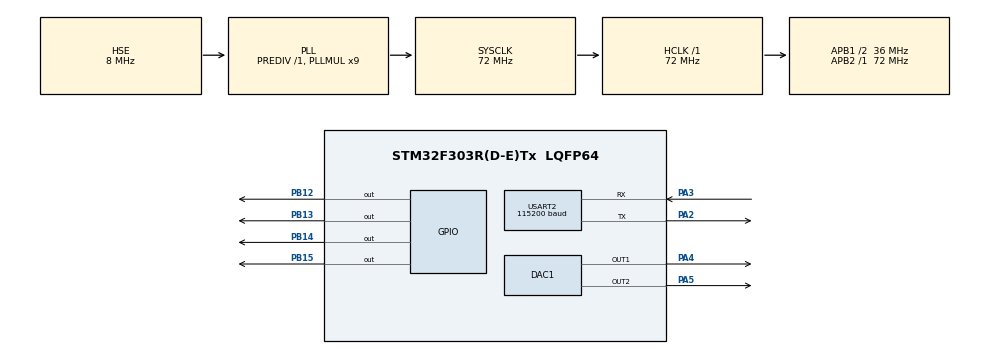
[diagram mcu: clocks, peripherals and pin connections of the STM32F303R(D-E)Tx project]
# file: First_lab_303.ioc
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DAC1.DAC_Trigger=DAC_TRIGGER_T6_TRGO
DAC1.DAC_Trigger2=DAC_TRIGGER_T7_TRGO
Dma.DAC1_CH1.2.Direction=DMA_MEMORY_TO_PERIPH
Dma.DAC1_CH1.2.Instance=DMA1_Channel3
Dma.DAC1_CH1.2.MemDataAlignment=DMA_MDATAALIGN_HALFWORD
Dma.DAC1_CH1.2.MemInc=DMA_MINC_ENABLE
Dma.DAC1_CH1.2.Mode=DMA_CIRCULAR
Dma.DAC1_CH1.2.PeriphDataAlignment=DMA_PDATAALIGN_HALFWORD
Dma.DAC1_CH1.2.PeriphInc=DMA_PINC_DISABLE
Dma.DAC1_CH1.2.Priority=DMA_PRIORITY_LOW
Dma.DAC1_CH2.3.Direction=DMA_MEMORY_TO_PERIPH
Dma.DAC1_CH2.3.Instance=DMA1_Channel4
Dma.DAC1_CH2.3.MemDataAlignment=DMA_MDATAALIGN_HALFWORD
Dma.DAC1_CH2.3.MemInc=DMA_MINC_ENABLE
Dma.DAC1_CH2.3.Mode=DMA_CIRCULAR
Dma.DAC1_CH2.3.PeriphDataAlignment=DMA_PDATAALIGN_HALFWORD
Dma.DAC1_CH2.3.PeriphInc=DMA_PINC_DISABLE
Dma.DAC1_CH2.3.Priority=DMA_PRIORITY_LOW
Dma.Request0=USART2_RX
Dma.Request1=USART2_TX
Dma.Request2=DAC1_CH1
Dma.Request3=DAC1_CH2
Dma.USART2_RX.0.Direction=DMA_PERIPH_TO_MEMORY
Dma.USART2_RX.0.Instance=DMA1_Channel6
Dma.USART2_RX.0.MemDataAlignment=DMA_MDATAALIGN_BYTE
Dma.USART2_RX.0.MemInc=DMA_MINC_ENABLE
Dma.USART2_RX.0.Mode=DMA_NORMAL
Dma.USART2_RX.0.PeriphDataAlignment=DMA_PDATAALIGN_BYTE
Dma.USART2_RX.0.PeriphInc=DMA_PINC_DISABLE
Dma.USART2_RX.0.Priority=DMA_PRIORITY_LOW
Dma.USART2_TX.1.Direction=DMA_MEMORY_TO_PERIPH
Dma.USART2_TX.1.Instance=DMA1_Channel7
Dma.USART2_TX.1.MemDataAlignment=DMA_MDATAALIGN_BYTE
Dma.USART2_TX.1.MemInc=DMA_MINC_ENABLE
Dma.USART2_TX.1.Mode=DMA_NORMAL
Dma.USART2_TX.1.PeriphDataAlignment=DMA_PDATAALIGN_BYTE
Dma.USART2_TX.1.PeriphInc=DMA_PINC_DISABLE
Dma.USART2_TX.1.Priority=DMA_PRIORITY_LOW
Mcu.Family=STM32F3
Mcu.Name=STM32F303R(D-E)Tx
Mcu.Package=LQFP64
NVIC.DMA1_Channel3_IRQn=true\:0\:0\:false\:false\:true\:false\:true\:true
NVIC.DMA1_Channel4_IRQn=true\:0\:0\:false\:false\:true\:false\:true\:true
NVIC.DMA1_Channel6_IRQn=true\:0\:0\:false\:false\:true\:false\:true\:true
NVIC.DMA1_Channel7_IRQn=true\:0\:0\:false\:false\:true\:false\:true\:true
NVIC.PriorityGroup=NVIC_PRIORITYGROUP_4
NVIC.USART2_IRQn=true\:0\:0\:false\:false\:true\:true\:true\:true
PA13.Mode=Serial_Wire
PA13.Signal=SYS_JTMS-SWDIO
PA14.Mode=Serial_Wire
PA14.Signal=SYS_JTCK-SWCLK
PA2.Mode=Asynchronous
PA2.Signal=USART2_TX
PA3.Mode=Asynchronous
PA3.Signal=USART2_RX
PA4.Signal=COMP_DAC11_group
PA5.Signal=COMP_DAC12_group
PB12.Signal=GPIO_Output
PB13.Signal=GPIO_Output
PB14.Signal=GPIO_Output
PB15.Signal=GPIO_Output
PF0-OSC_IN.Mode=HSE-External-Oscillator
PF0-OSC_IN.Signal=RCC_OSC_IN
PF1-OSC_OUT.Mode=HSE-External-Oscillator
PF1-OSC_OUT.Signal=RCC_OSC_OUT
ProjectManager.HeapSize=0x200
ProjectManager.StackSize=0x400
ProjectManager.TargetToolchain=STM32CubeIDE
RCC.AHBFreq_Value=72000000
RCC.APB1CLKDivider=RCC_HCLK_DIV2
RCC.APB1Freq_Value=36000000
RCC.APB1TimFreq_Value=72000000
RCC.APB2Freq_Value=72000000
RCC.APB2TimFreq_Value=72000000
RCC.CortexFreq_Value=72000000
RCC.HCLKFreq_Value=72000000
RCC.HSE_VALUE=8000000
RCC.HSI_VALUE=8000000
RCC.LSE_VALUE=32768
RCC.PLLMUL=RCC_PLL_MUL9
RCC.PLLSourceVirtual=RCC_PLLSOURCE_HSE
RCC.SYSCLKFreq_VALUE=72000000
RCC.SYSCLKSourceVirtual=RCC_SYSCLKSOURCE_PLLCLK
RCC.USBFreq_Value=72000000
SH.COMP_DAC11_group.0=DAC1_OUT1,DAC_OUT1
SH.COMP_DAC12_group.0=DAC1_OUT2,Enable_DAC_OUT2
TIM6.AutoReloadPreload=TIM_AUTORELOAD_PRELOAD_DISABLE
TIM6.Period=7199
TIM6.Prescaler=0
TIM6.TIM_MasterOutputTrigger=TIM_TRGO_UPDATE
TIM7.Period=7199
TIM7.Prescaler=0
TIM7.TIM_MasterOutputTrigger=TIM_TRGO_UPDATE
USART2.BaudRate=115200
USART2.VirtualMode-Asynchronous=VM_ASYNC
VP_TIM6_VS_ClockSourceINT.Mode=Enable_Timer
VP_TIM7_VS_ClockSourceINT.Mode=Enable_Timer
board=custom

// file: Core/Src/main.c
/* USER CODE BEGIN Header */
/**
  ******************************************************************************
  * @file           : main.c
  * @brief          : Main program body
  ******************************************************************************
  * @attention
  *
  * Copyright (c) 2023 STMicroelectronics.
  * All rights reserved.
  *
  * This software is licensed under terms that can be found in the LICENSE file
  * in the root directory of this software component.
  * If no LICENSE file comes with this software, it is provided AS-IS.
  *
  ******************************************************************************
  */
/* USER CODE END Header */
#include "main.h"

/* USER CODE BEGIN Includes */
#include "stdio.h"
#include <string.h>
#include <stdlib.h>
#include <ctype.h>
#include <math.h>
/* USER CODE END Includes */

/* USER CODE BEGIN PD */
#define RxBuf_SIZE 16
#define TxBuf_SIZE 1024
#define DAC_BUFFER_SIZE 256
/* USER CODE END PD */

DAC_HandleTypeDef hdac1;
DMA_HandleTypeDef hdma_dac1_ch1;
DMA_HandleTypeDef hdma_dac1_ch2;

TIM_HandleTypeDef htim6;
TIM_HandleTypeDef htim7;

UART_HandleTypeDef huart2;
DMA_HandleTypeDef hdma_usart2_rx;
DMA_HandleTypeDef hdma_usart2_tx;

/* USER CODE BEGIN PV */
uint8_t TxBuf[TxBuf_SIZE];
uint8_t RxBuf[RxBuf_SIZE];

uint16_t Ware_Sinus[DAC_BUFFER_SIZE], Ware_Sawtooth[DAC_BUFFER_SIZE];

int count = 0;
int size = 0;
int flag = 0;
int frequency;

/* USER CODE END PV */

void SystemClock_Config(void);
static void MX_GPIO_Init(void);
static void MX_DMA_Init(void);
static void MX_USART2_UART_Init(void);
static void MX_DAC1_Init(void);
static void MX_TIM6_Init(void);
static void MX_TIM7_Init(void);

/* USER CODE BEGIN 0 */

void init_WareSinus_Array(uint16_t* Ware, uint16_t samples) {
    uint16_t amplitude;
    for (uint16_t i = 0; i < samples; i++) {
        amplitude = (uint16_t) rint((sinf(((2 * M_PI) / samples) * i) + 1) * 2048);
        Ware[i] = amplitude < 4096 ? amplitude : 4095;
    }
}

void init_WareSawtooth_Array(uint16_t* Ware, uint16_t samples) {
    for (uint16_t i = 0; i < samples; i++) {
        double sawtooth_value = fmod(i * (1.0 / samples), 1.0);
        uint16_t amplitude = (uint16_t) rint(sawtooth_value * 4096);
        Ware[i] = amplitude < 4096 ? amplitude : 4095;
    }
}

void calculateTimerSettings(TIM_HandleTypeDef *htim,  uint32_t targetFrequency) {
	  uint32_t timerClockFreq = HAL_RCC_GetSysClockFreq(); // Получаем частоту шины PCLK1 (или PCLK2 в зависимости от таймера)

	  // Ищем наибольший возможный делитель частоты, чтобы период таймера был больше 0xFFFF
	  uint32_t prescaler = 1;
	  while ((timerClockFreq / prescaler) / targetFrequency > 0xFFFF) {
	    prescaler++;
	  }

	  // Рассчитываем период таймера
	  uint32_t period = (timerClockFreq / prescaler) / targetFrequency;

	  __HAL_TIM_SET_AUTORELOAD(htim, period - 1);
	  __HAL_TIM_SET_PRESCALER(htim, prescaler - 1);
}

void SinDAC1(uint32_t targetFrequency){
	calculateTimerSettings(&htim6, targetFrequency*DAC_BUFFER_SIZE);
}

void RampDAC2(uint32_t targetFrequency) {
	calculateTimerSettings(&htim7, targetFrequency*DAC_BUFFER_SIZE);
}

void HAL_GPIO_EXTI_Callback(uint16_t GPIO_Pin)
{
    if (GPIO_Pin == GPIO_PIN_1)
    {
       flag++;
    }

}

void blind()
	{
	  HAL_GPIO_WritePin(GPIOB, GPIO_PIN_12, GPIO_PIN_SET);
	  HAL_GPIO_WritePin(GPIOB, GPIO_PIN_13, GPIO_PIN_SET);
	  HAL_GPIO_WritePin(GPIOB, GPIO_PIN_14, GPIO_PIN_SET);
	  HAL_GPIO_WritePin(GPIOB, GPIO_PIN_15, GPIO_PIN_SET);
	}

void addle()
	{
	  HAL_GPIO_WritePin(GPIOB, GPIO_PIN_12, GPIO_PIN_RESET);
	  HAL_GPIO_WritePin(GPIOB, GPIO_PIN_13, GPIO_PIN_RESET);
	  HAL_GPIO_WritePin(GPIOB, GPIO_PIN_14, GPIO_PIN_RESET);
	  HAL_GPIO_WritePin(GPIOB, GPIO_PIN_15, GPIO_PIN_RESET);
	}

void state_1()
	{
	  blind();
	  HAL_Delay(1000);
	  addle();
	  HAL_Delay(1000);
	}
void state_2()
	{
	blind();
	HAL_Delay(500);
	addle();
	HAL_Delay(500);
	}

int isCorrectFrequency(int frequency) {
	if(frequency >= 100 && frequency<= 9900)
	{
		return 1;
	}
	return 0;
}

void calculateFrequency(int freq){
	int frequency_counter = 72000000 / (72 * freq);
	TIM1->ARR = frequency_counter;
}

void setFrequency(char *strRx, char *strTx){
	char* numberFromString = strpbrk(strRx, "0123456789");
	if(numberFromString != NULL) {
		frequency = atoi(numberFromString);
			if(isCorrectFrequency(frequency)) {
				calculateFrequency(frequency);
			}
		 else {
				strcat(strTx, "\r\nIncorrect number. Choose frequency from 100 to 9900Ghz\r\n");

			}

	} else {
		 strcat(strTx, "\r\nIncorrect input.\r\n");
	}
}

void inputStringCompare(char *strRx, char *strTx){

	for (int i = 0; i < strlen(strRx); i++) {
		strRx[i] = tolower(strRx[i]);
	    }

	setFrequency(strRx, strTx);
	if(strstr(strRx,"sin") != NULL){
		 HAL_DAC_Start_DMA(&hdac1, DAC_CHANNEL_1, (uint32_t*)Ware_Sinus, DAC_BUFFER_SIZE, DAC_ALIGN_12B_R);
		 SinDAC1(frequency);
		strcat(strTx, "\r\n Sin function is was run\r\n");
	} else if(strstr(strRx,"ramp") != NULL){
		HAL_DAC_Start_DMA(&hdac1, DAC_CHANNEL_2, (uint32_t*)Ware_Sawtooth, DAC_BUFFER_SIZE, DAC_ALIGN_12B_R);
		RampDAC2(frequency);
		strcat(strTx, "\r\n Ramp function is was run\r\n");
	}
	else if(strstr(strRx,"stop") != NULL){
		 HAL_DAC_Stop_DMA(&hdac1, DAC_CHANNEL_1);
		  HAL_DAC_Stop_DMA(&hdac1, DAC_CHANNEL_2);
		strcat(strTx, "\r\n STOP\r\n");
		}
	else {
		strcat(strTx, "\r\nUnknown command. Try again.\r\nAvailable only: 'sin', 'ramp', 'stop'.\r\n");
	}
}

void HAL_UARTEx_RxEventCallback(UART_HandleTypeDef *huart, uint16_t Size)
{
	if (huart->Instance == USART2) {
		inputStringCompare((char*)RxBuf,(char*)TxBuf);
		HAL_UARTEx_ReceiveToIdle_DMA(&huart2, (uint8_t *) RxBuf, RxBuf_SIZE);
		__HAL_DMA_DISABLE_IT(&hdma_usart2_rx, DMA_IT_HT);
	}
}

void UART_TX_Triger(char *strTx) {
	if(strlen(strTx) != 0) {
		HAL_UART_Transmit_DMA(&huart2, (uint8_t*) strTx, strlen(strTx));
	}
}

void HAL_UART_TxCpltCallback(UART_HandleTypeDef *huart)
{
	if (huart->Instance == USART2) {
		if(HAL_UART_GetState (&huart2) != HAL_UART_STATE_BUSY_TX) {
			memset (TxBuf, 0, TxBuf_SIZE);
		}
	}
}
/* USER CODE END 0 */

int main(void)
{

  /* MCU Configuration--------------------------------------------------------*/

  /* Reset of all peripherals, Initializes the Flash interface and the Systick. */
  HAL_Init();

  /* Configure the system clock */
  SystemClock_Config();

  /* Initialize all configured peripherals */
  MX_GPIO_Init();
  MX_DMA_Init();
  MX_USART2_UART_Init();
  MX_DAC1_Init();
  MX_TIM6_Init();
  MX_TIM7_Init();
  /* USER CODE BEGIN 2 */
  HAL_DAC_Init(&hdac1);
  HAL_TIM_Base_Start(&htim6);
  HAL_TIM_Base_Start(&htim7);

  init_WareSinus_Array(Ware_Sinus, DAC_BUFFER_SIZE);
  init_WareSawtooth_Array(Ware_Sawtooth, DAC_BUFFER_SIZE);

  HAL_DAC_Start_DMA(&hdac1, DAC_CHANNEL_1, (uint32_t*)Ware_Sinus, DAC_BUFFER_SIZE, DAC_ALIGN_12B_R);
  HAL_DAC_Start_DMA(&hdac1, DAC_CHANNEL_2, (uint32_t*)Ware_Sawtooth, DAC_BUFFER_SIZE, DAC_ALIGN_12B_R);

  HAL_UARTEx_ReceiveToIdle_DMA(&huart2, (uint8_t *) RxBuf, RxBuf_SIZE);
 __HAL_DMA_DISABLE_IT(&hdma_usart2_rx, DMA_IT_HT);
  /* USER CODE END 2 */

  /* Infinite loop */
 while (1)
 {

 }
}

void SystemClock_Config(void)
{
  RCC_OscInitTypeDef RCC_OscInitStruct = {0};
  RCC_ClkInitTypeDef RCC_ClkInitStruct = {0};
  RCC_PeriphCLKInitTypeDef PeriphClkInit = {0};

  /** Initializes the RCC Oscillators according to the specified parameters
  * in the RCC_OscInitTypeDef structure.
  */
  RCC_OscInitStruct.OscillatorType = RCC_OSCILLATORTYPE_HSE;
  RCC_OscInitStruct.HSEState = RCC_HSE_ON;
  RCC_OscInitStruct.HSIState = RCC_HSI_ON;
  RCC_OscInitStruct.PLL.PLLState = RCC_PLL_ON;
  RCC_OscInitStruct.PLL.PLLSource = RCC_PLLSOURCE_HSE;
  RCC_OscInitStruct.PLL.PLLMUL = RCC_PLL_MUL9;
  RCC_OscInitStruct.PLL.PREDIV = RCC_PREDIV_DIV1;
  if (HAL_RCC_OscConfig(&RCC_OscInitStruct) != HAL_OK)
  {
    Error_Handler();
  }

  /** Initializes the CPU, AHB and APB buses clocks
  */
  RCC_ClkInitStruct.ClockType = RCC_CLOCKTYPE_HCLK|RCC_CLOCKTYPE_SYSCLK
                              |RCC_CLOCKTYPE_PCLK1|RCC_CLOCKTYPE_PCLK2;
  RCC_ClkInitStruct.SYSCLKSource = RCC_SYSCLKSOURCE_PLLCLK;
  RCC_ClkInitStruct.AHBCLKDivider = RCC_SYSCLK_DIV1;
  RCC_ClkInitStruct.APB1CLKDivider = RCC_HCLK_DIV2;
  RCC_ClkInitStruct.APB2CLKDivider = RCC_HCLK_DIV1;

  if (HAL_RCC_ClockConfig(&RCC_ClkInitStruct, FLASH_LATENCY_2) != HAL_OK)
  {
    Error_Handler();
  }
  PeriphClkInit.PeriphClockSelection = RCC_PERIPHCLK_USART2;
  PeriphClkInit.Usart2ClockSelection = RCC_USART2CLKSOURCE_PCLK1;
  if (HAL_RCCEx_PeriphCLKConfig(&PeriphClkInit) != HAL_OK)
  {
    Error_Handler();
  }
}

static void MX_DAC1_Init(void)
{

  DAC_ChannelConfTypeDef sConfig = {0};

  /** DAC Initialization
  */
  hdac1.Instance = DAC1;
  if (HAL_DAC_Init(&hdac1) != HAL_OK)
  {
    Error_Handler();
  }

  /** DAC channel OUT1 config
  */
  sConfig.DAC_Trigger = DAC_TRIGGER_T6_TRGO;
  sConfig.DAC_OutputBuffer = DAC_OUTPUTBUFFER_ENABLE;
  if (HAL_DAC_ConfigChannel(&hdac1, &sConfig, DAC_CHANNEL_1) != HAL_OK)
  {
    Error_Handler();
  }

  /** DAC channel OUT2 config
  */
  sConfig.DAC_Trigger = DAC_TRIGGER_T7_TRGO;
  if (HAL_DAC_ConfigChannel(&hdac1, &sConfig, DAC_CHANNEL_2) != HAL_OK)
  {
    Error_Handler();
  }

}

static void MX_TIM6_Init(void)
{

  TIM_MasterConfigTypeDef sMasterConfig = {0};

  htim6.Instance = TIM6;
  htim6.Init.Prescaler = 0;
  htim6.Init.CounterMode = TIM_COUNTERMODE_UP;
  htim6.Init.Period = 7199;
  htim6.Init.AutoReloadPreload = TIM_AUTORELOAD_PRELOAD_DISABLE;
  if (HAL_TIM_Base_Init(&htim6) != HAL_OK)
  {
    Error_Handler();
  }
  sMasterConfig.MasterOutputTrigger = TIM_TRGO_UPDATE;
  sMasterConfig.MasterSlaveMode = TIM_MASTERSLAVEMODE_DISABLE;
  if (HAL_TIMEx_MasterConfigSynchronization(&htim6, &sMasterConfig) != HAL_OK)
  {
    Error_Handler();
  }

}

static void MX_TIM7_Init(void)
{

  TIM_MasterConfigTypeDef sMasterConfig = {0};

  htim7.Instance = TIM7;
  htim7.Init.Prescaler = 0;
  htim7.Init.CounterMode = TIM_COUNTERMODE_UP;
  htim7.Init.Period = 7199;
  htim7.Init.AutoReloadPreload = TIM_AUTORELOAD_PRELOAD_DISABLE;
  if (HAL_TIM_Base_Init(&htim7) != HAL_OK)
  {
    Error_Handler();
  }
  sMasterConfig.MasterOutputTrigger = TIM_TRGO_UPDATE;
  sMasterConfig.MasterSlaveMode = TIM_MASTERSLAVEMODE_DISABLE;
  if (HAL_TIMEx_MasterConfigSynchronization(&htim7, &sMasterConfig) != HAL_OK)
  {
    Error_Handler();
  }

}

static void MX_USART2_UART_Init(void)
{

  huart2.Instance = USART2;
  huart2.Init.BaudRate = 115200;
  huart2.Init.WordLength = UART_WORDLENGTH_8B;
  huart2.Init.StopBits = UART_STOPBITS_1;
  huart2.Init.Parity = UART_PARITY_NONE;
  huart2.Init.Mode = UART_MODE_TX_RX;
  huart2.Init.HwFlowCtl = UART_HWCONTROL_NONE;
  huart2.Init.OverSampling = UART_OVERSAMPLING_16;
  huart2.Init.OneBitSampling = UART_ONE_BIT_SAMPLE_DISABLE;
  huart2.AdvancedInit.AdvFeatureInit = UART_ADVFEATURE_NO_INIT;
  if (HAL_UART_Init(&huart2) != HAL_OK)
  {
    Error_Handler();
  }

}

static void MX_DMA_Init(void)
{

  /* DMA controller clock enable */
  __HAL_RCC_DMA1_CLK_ENABLE();

  /* DMA interrupt init */
  /* DMA1_Channel3_IRQn interrupt configuration */
  HAL_NVIC_SetPriority(DMA1_Channel3_IRQn, 0, 0);
  HAL_NVIC_EnableIRQ(DMA1_Channel3_IRQn);
  /* DMA1_Channel4_IRQn interrupt configuration */
  HAL_NVIC_SetPriority(DMA1_Channel4_IRQn, 0, 0);
  HAL_NVIC_EnableIRQ(DMA1_Channel4_IRQn);
  /* DMA1_Channel6_IRQn interrupt configuration */
  HAL_NVIC_SetPriority(DMA1_Channel6_IRQn, 0, 0);
  HAL_NVIC_EnableIRQ(DMA1_Channel6_IRQn);
  /* DMA1_Channel7_IRQn interrupt configuration */
  HAL_NVIC_SetPriority(DMA1_Channel7_IRQn, 0, 0);
  HAL_NVIC_EnableIRQ(DMA1_Channel7_IRQn);

}

static void MX_GPIO_Init(void)
{
  GPIO_InitTypeDef GPIO_InitStruct = {0};

  /* GPIO Ports Clock Enable */
  __HAL_RCC_GPIOF_CLK_ENABLE();
  __HAL_RCC_GPIOA_CLK_ENABLE();
  __HAL_RCC_GPIOB_CLK_ENABLE();

  /*Configure GPIO pin Output Level */
  HAL_GPIO_WritePin(GPIOB, GPIO_PIN_12|GPIO_PIN_13|GPIO_PIN_14|GPIO_PIN_15, GPIO_PIN_RESET);

  /*Configure GPIO pins : PB12 PB13 PB14 PB15 */
  GPIO_InitStruct.Pin = GPIO_PIN_12|GPIO_PIN_13|GPIO_PIN_14|GPIO_PIN_15;
  GPIO_InitStruct.Mode = GPIO_MODE_OUTPUT_PP;
  GPIO_InitStruct.Pull = GPIO_NOPULL;
  GPIO_InitStruct.Speed = GPIO_SPEED_FREQ_LOW;
  HAL_GPIO_Init(GPIOB, &GPIO_InitStruct);

}

void Error_Handler(void)
{
  __disable_irq();
  while (1)
  {
  }
}
